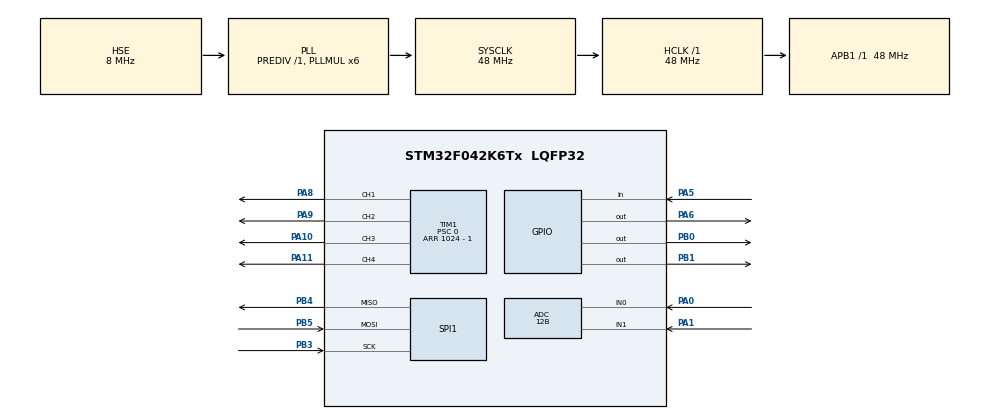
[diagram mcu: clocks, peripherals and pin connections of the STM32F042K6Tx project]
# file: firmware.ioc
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ADC.ClockPrescaler=ADC_CLOCK_SYNC_PCLK_DIV4
ADC.ContinuousConvMode=ENABLE
ADC.DMAContinuousRequests=ENABLE
ADC.DataAlign=ADC_DATAALIGN_RIGHT
ADC.DiscontinuousConvMode=DISABLE
ADC.EOCSelection=ADC_EOC_SINGLE_CONV
ADC.EnableAnalogWatchDog=false
ADC.ExternalTrigConv=ADC_SOFTWARE_START
ADC.ExternalTrigConvEdge=ADC_EXTERNALTRIGCONVEDGE_NONE
ADC.LowPowerAutoPowerOff=DISABLE
ADC.LowPowerAutoWait=DISABLE
ADC.Overrun=ADC_OVR_DATA_PRESERVED
ADC.Resolution=ADC_RESOLUTION_12B
ADC.SamplingTime=ADC_SAMPLETIME_13CYCLES_5
ADC.ScanConvMode=ADC_SCAN_DIRECTION_FORWARD
Dma.ADC.0.Direction=DMA_PERIPH_TO_MEMORY
Dma.ADC.0.Instance=DMA1_Channel1
Dma.ADC.0.MemDataAlignment=DMA_MDATAALIGN_HALFWORD
Dma.ADC.0.MemInc=DMA_MINC_ENABLE
Dma.ADC.0.Mode=DMA_CIRCULAR
Dma.ADC.0.PeriphDataAlignment=DMA_PDATAALIGN_HALFWORD
Dma.ADC.0.PeriphInc=DMA_PINC_DISABLE
Dma.ADC.0.Priority=DMA_PRIORITY_LOW
Dma.Request0=ADC
Mcu.Family=STM32F0
Mcu.Name=STM32F042K6Tx
Mcu.Package=LQFP32
NVIC.DMA1_Channel1_IRQn=true\:0\:0\:false\:false\:true
NVIC.TIM2_IRQn=true\:0\:0\:false\:false\:true
PA0.Mode=IN0
PA0.Signal=ADC_IN0
PA1.Mode=IN1
PA1.Signal=ADC_IN1
PA10.Signal=S_TIM1_CH3
PA11.Signal=S_TIM1_CH4
PA13.Mode=Serial_Wire
PA13.Signal=SYS_SWDIO
PA14.Mode=Serial_Wire
PA14.Signal=SYS_SWCLK
PA5.Signal=GPIO_Input
PA6.Signal=GPIO_Output
PA8.Signal=S_TIM1_CH1
PA9.Signal=S_TIM1_CH2
PB0.Signal=GPIO_Output
PB1.Signal=GPIO_Output
PB3.Mode=Full_Duplex_Slave
PB3.Signal=SPI1_SCK
PB4.Mode=Full_Duplex_Slave
PB4.Signal=SPI1_MISO
PB5.Mode=Full_Duplex_Slave
PB5.Signal=SPI1_MOSI
PF0-OSC_IN.Mode=HSE-External-Oscillator
PF0-OSC_IN.Signal=RCC_OSC_IN
PF1-OSC_OUT.Mode=HSE-External-Oscillator
PF1-OSC_OUT.Signal=RCC_OSC_OUT
ProjectManager.HeapSize=0x200
ProjectManager.StackSize=0x400
ProjectManager.TargetToolchain=SW4STM32
RCC.AHBFreq_Value=48000000
RCC.APB1Freq_Value=48000000
RCC.APB1TimFreq_Value=48000000
RCC.HCLKFreq_Value=48000000
RCC.HSIState=RCC_HSI_ON
RCC.I2c1ClockSelection=RCC_I2C1CLKSOURCE_SYSCLK
RCC.PLLMUL=RCC_PLL_MUL6
RCC.PLLSourceVirtual=RCC_PLLSOURCE_HSE
RCC.SYSCLKFreq_VALUE=48000000
RCC.SYSCLKSource=RCC_SYSCLKSOURCE_PLLCLK
SH.S_TIM1_CH1.0=TIM1_CH1,PWM Generation1 CH1
SH.S_TIM1_CH2.0=TIM1_CH2,PWM Generation2 CH2
SH.S_TIM1_CH3.0=TIM1_CH3,PWM Generation3 CH3
SH.S_TIM1_CH4.0=TIM1_CH4,PWM Generation4 CH4
SPI1.DataSize=SPI_DATASIZE_8BIT
SPI1.VirtualType=VM_SLAVE
TIM1.Channel-PWM\ Generation2\ CH2=TIM_CHANNEL_2
TIM1.Channel-PWM\ Generation3\ CH3=TIM_CHANNEL_3
TIM1.Channel-PWM\ Generation4\ CH4=TIM_CHANNEL_4
TIM1.Period=1024 - 1
TIM1.Prescaler=0
TIM2.Period=50 - 1
TIM2.Prescaler=48000 - 1
VP_TIM2_VS_ClockSourceINT.Mode=Internal
board=firmware

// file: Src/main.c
/**
  ******************************************************************************
  * File Name          : main.c
  * Description        : Main program body
  ******************************************************************************
  *
  * COPYRIGHT(c) 2017 STMicroelectronics
  *
  * Redistribution and use in source and binary forms, with or without modification,
  * are permitted provided that the following conditions are met:
  *   1. Redistributions of source code must retain the above copyright notice,
  *      this list of conditions and the following disclaimer.
  *   2. Redistributions in binary form must reproduce the above copyright notice,
  *      this list of conditions and the following disclaimer in the documentation
  *      and/or other materials provided with the distribution.
  *   3. Neither the name of STMicroelectronics nor the names of its contributors
  *      may be used to endorse or promote products derived from this software
  *      without specific prior written permission.
  *
  * THIS SOFTWARE IS PROVIDED BY THE COPYRIGHT HOLDERS AND CONTRIBUTORS "AS IS"
  * AND ANY EXPRESS OR IMPLIED WARRANTIES, INCLUDING, BUT NOT LIMITED TO, THE
  * IMPLIED WARRANTIES OF MERCHANTABILITY AND FITNESS FOR A PARTICULAR PURPOSE ARE
  * DISCLAIMED. IN NO EVENT SHALL THE COPYRIGHT HOLDER OR CONTRIBUTORS BE LIABLE
  * FOR ANY DIRECT, INDIRECT, INCIDENTAL, SPECIAL, EXEMPLARY, OR CONSEQUENTIAL
  * DAMAGES (INCLUDING, BUT NOT LIMITED TO, PROCUREMENT OF SUBSTITUTE GOODS OR
  * SERVICES; LOSS OF USE, DATA, OR PROFITS; OR BUSINESS INTERRUPTION) HOWEVER
  * CAUSED AND ON ANY THEORY OF LIABILITY, WHETHER IN CONTRACT, STRICT LIABILITY,
  * OR TORT (INCLUDING NEGLIGENCE OR OTHERWISE) ARISING IN ANY WAY OUT OF THE USE
  * OF THIS SOFTWARE, EVEN IF ADVISED OF THE POSSIBILITY OF SUCH DAMAGE.
  *
  ******************************************************************************
  */
#include "main.h"
#include "stm32f0xx_hal.h"

/* USER CODE BEGIN Includes */
#include "Servo.h"
#include "LED.h"
#include "HostComm.h"
/* USER CODE END Includes */

ADC_HandleTypeDef hadc;
DMA_HandleTypeDef hdma_adc;

SPI_HandleTypeDef hspi1;

TIM_HandleTypeDef htim1;
TIM_HandleTypeDef htim2;

/* USER CODE BEGIN PV */
/* Private variables ---------------------------------------------------------*/
static ServoHandle hservo;
static LEDHandle hled;
static HostCommHandle hcomm;

/* USER CODE END PV */

void SystemClock_Config(void);
void Error_Handler(void);
static void MX_GPIO_Init(void);
static void MX_DMA_Init(void);
static void MX_ADC_Init(void);
static void MX_TIM1_Init(void);
static void MX_TIM2_Init(void);
static void MX_SPI1_Init(void);

void HAL_TIM_MspPostInit(TIM_HandleTypeDef *htim);

/* USER CODE BEGIN PFP */
/* Private function prototypes -----------------------------------------------*/

/* USER CODE END PFP */

int main(void)
{

  /* MCU Configuration----------------------------------------------------------*/

  /* Reset of all peripherals, Initializes the Flash interface and the Systick. */
  HAL_Init();

  /* Configure the system clock */
  SystemClock_Config();

  /* Initialize all configured peripherals */
  MX_GPIO_Init();
  MX_DMA_Init();
  MX_ADC_Init();
  MX_TIM1_Init();
  MX_TIM2_Init();
  MX_SPI1_Init();

  /* USER CODE BEGIN 2 */
  if (initLED(&hled, &htim2, GPIOB, GPIO_PIN_0, GPIOB, GPIO_PIN_1) != HAL_OK){
	  Error_Handler();
  }
  if (initServo(&hservo, &htim1, &hadc) != HAL_OK){
	  Error_Handler();
  }
  if (initHostComm(&hcomm, &hled, &hservo) != HAL_OK){
	  Error_Handler();
  }
  /* USER CODE END 2 */

  /* Infinite loop */
  /* USER CODE BEGIN WHILE */
  startLED(&hled);
  HAL_Delay(500);
  LED_CONFIG(&hled, LED_SEQ_LEVEL_MASTER).type[LED_RED] = LED_SEQ_TYPE_ON;
  commitLEDConfig(&hled, LED_SEQ_LEVEL_MASTER);
  HAL_Delay(1500);
  LED_CONFIG(&hled, LED_SEQ_LEVEL_MASTER).type[LED_BLUE] = LED_SEQ_TYPE_ON;
  commitLEDConfig(&hled, LED_SEQ_LEVEL_MASTER);
  HAL_Delay(1500);
  LED_CONFIG(&hled, LED_SEQ_LEVEL_MASTER).type[LED_BLUE] = LED_SEQ_TYPE_OFF;
  LED_CONFIG(&hled, LED_SEQ_LEVEL_MASTER).type[LED_RED] = LED_SEQ_TYPE_OFF;
  commitLEDConfig(&hled, LED_SEQ_LEVEL_MASTER);
  HAL_Delay(700);

  startServo(&hservo);
  LED_CONFIG(&hled, LED_SEQ_LEVEL_MASTER).type[LED_BLUE] = LED_SEQ_TYPE_SERVO_IDLE;
  LED_CONFIG(&hled, LED_SEQ_LEVEL_MASTER).type[LED_RED] = LED_SEQ_TYPE_SERVO_IDLE;
  commitLEDConfig(&hled, LED_SEQ_LEVEL_MASTER);

  while (1) {
	  uint8_t magic = TRACKCAM_MAGIC;
	  uint8_t cmd;
	  static uint8_t rxbuff[64];
	  static uint8_t txbuff[64];

	  int rc = HAL_SPI_TransmitReceive(&hspi1, &magic, &cmd, 1, HAL_MAX_DELAY);
	  if (rc != HAL_OK){
		  Error_Handler();
	  }

	  int argsize = validateHostCommand(cmd);
	  if (argsize < 0){
		  continue;
	  }else if (argsize > 0){
		  rc = HAL_SPI_Receive(&hspi1, rxbuff, argsize, 100);
		  if (rc == HAL_TIMEOUT){
			  continue;
		  }else if (rc != HAL_OK){
			  Error_Handler();
		  }
	  }
	  int respsize = processHostCommand(&hcomm, cmd, rxbuff, argsize, txbuff, sizeof(txbuff));
	  if (respsize > 0){
		  int rc = HAL_SPI_TransmitReceive(&hspi1, rxbuff, txbuff, respsize, 100);
		  if (rc == HAL_TIMEOUT){
			  continue;
		  }else if (rc != HAL_OK){
			  Error_Handler();
		  }
	  }

  /* USER CODE END WHILE */

  }

}

/** System Clock Configuration
*/
void SystemClock_Config(void)
{

  RCC_OscInitTypeDef RCC_OscInitStruct;
  RCC_ClkInitTypeDef RCC_ClkInitStruct;

    /**Initializes the CPU, AHB and APB busses clocks
    */
  RCC_OscInitStruct.OscillatorType = RCC_OSCILLATORTYPE_HSE;
  RCC_OscInitStruct.HSEState = RCC_HSE_ON;
  RCC_OscInitStruct.HSIState = RCC_HSI_ON;
  RCC_OscInitStruct.PLL.PLLState = RCC_PLL_ON;
  RCC_OscInitStruct.PLL.PLLSource = RCC_PLLSOURCE_HSE;
  RCC_OscInitStruct.PLL.PLLMUL = RCC_PLL_MUL6;
  RCC_OscInitStruct.PLL.PREDIV = RCC_PREDIV_DIV1;
  if (HAL_RCC_OscConfig(&RCC_OscInitStruct) != HAL_OK)
  {
    Error_Handler();
  }

    /**Initializes the CPU, AHB and APB busses clocks
    */
  RCC_ClkInitStruct.ClockType = RCC_CLOCKTYPE_HCLK|RCC_CLOCKTYPE_SYSCLK
                              |RCC_CLOCKTYPE_PCLK1;
  RCC_ClkInitStruct.SYSCLKSource = RCC_SYSCLKSOURCE_PLLCLK;
  RCC_ClkInitStruct.AHBCLKDivider = RCC_SYSCLK_DIV1;
  RCC_ClkInitStruct.APB1CLKDivider = RCC_HCLK_DIV1;

  if (HAL_RCC_ClockConfig(&RCC_ClkInitStruct, FLASH_LATENCY_1) != HAL_OK)
  {
    Error_Handler();
  }

    /**Configure the Systick interrupt time
    */
  HAL_SYSTICK_Config(HAL_RCC_GetHCLKFreq()/1000);

    /**Configure the Systick
    */
  HAL_SYSTICK_CLKSourceConfig(SYSTICK_CLKSOURCE_HCLK);

  /* SysTick_IRQn interrupt configuration */
  HAL_NVIC_SetPriority(SysTick_IRQn, 0, 0);
}

/* ADC init function */
static void MX_ADC_Init(void)
{

  ADC_ChannelConfTypeDef sConfig;

    /**Configure the global features of the ADC (Clock, Resolution, Data Alignment and number of conversion)
    */
  hadc.Instance = ADC1;
  hadc.Init.ClockPrescaler = ADC_CLOCK_SYNC_PCLK_DIV4;
  hadc.Init.Resolution = ADC_RESOLUTION_12B;
  hadc.Init.DataAlign = ADC_DATAALIGN_RIGHT;
  hadc.Init.ScanConvMode = ADC_SCAN_DIRECTION_FORWARD;
  hadc.Init.EOCSelection = ADC_EOC_SINGLE_CONV;
  hadc.Init.LowPowerAutoWait = DISABLE;
  hadc.Init.LowPowerAutoPowerOff = DISABLE;
  hadc.Init.ContinuousConvMode = ENABLE;
  hadc.Init.DiscontinuousConvMode = DISABLE;
  hadc.Init.ExternalTrigConv = ADC_SOFTWARE_START;
  hadc.Init.ExternalTrigConvEdge = ADC_EXTERNALTRIGCONVEDGE_NONE;
  hadc.Init.DMAContinuousRequests = ENABLE;
  hadc.Init.Overrun = ADC_OVR_DATA_PRESERVED;
  if (HAL_ADC_Init(&hadc) != HAL_OK)
  {
    Error_Handler();
  }

    /**Configure for the selected ADC regular channel to be converted.
    */
  sConfig.Channel = ADC_CHANNEL_0;
  sConfig.Rank = ADC_RANK_CHANNEL_NUMBER;
  sConfig.SamplingTime = ADC_SAMPLETIME_13CYCLES_5;
  if (HAL_ADC_ConfigChannel(&hadc, &sConfig) != HAL_OK)
  {
    Error_Handler();
  }

    /**Configure for the selected ADC regular channel to be converted.
    */
  sConfig.Channel = ADC_CHANNEL_1;
  if (HAL_ADC_ConfigChannel(&hadc, &sConfig) != HAL_OK)
  {
    Error_Handler();
  }

}

/* SPI1 init function */
static void MX_SPI1_Init(void)
{

  hspi1.Instance = SPI1;
  hspi1.Init.Mode = SPI_MODE_SLAVE;
  hspi1.Init.Direction = SPI_DIRECTION_2LINES;
  hspi1.Init.DataSize = SPI_DATASIZE_8BIT;
  hspi1.Init.CLKPolarity = SPI_POLARITY_LOW;
  hspi1.Init.CLKPhase = SPI_PHASE_1EDGE;
  hspi1.Init.NSS = SPI_NSS_SOFT;
  hspi1.Init.FirstBit = SPI_FIRSTBIT_MSB;
  hspi1.Init.TIMode = SPI_TIMODE_DISABLE;
  hspi1.Init.CRCCalculation = SPI_CRCCALCULATION_DISABLE;
  hspi1.Init.CRCPolynomial = 7;
  hspi1.Init.CRCLength = SPI_CRC_LENGTH_DATASIZE;
  hspi1.Init.NSSPMode = SPI_NSS_PULSE_DISABLE;
  if (HAL_SPI_Init(&hspi1) != HAL_OK)
  {
    Error_Handler();
  }

}

/* TIM1 init function */
static void MX_TIM1_Init(void)
{

  TIM_MasterConfigTypeDef sMasterConfig;
  TIM_OC_InitTypeDef sConfigOC;
  TIM_BreakDeadTimeConfigTypeDef sBreakDeadTimeConfig;

  htim1.Instance = TIM1;
  htim1.Init.Prescaler = 0;
  htim1.Init.CounterMode = TIM_COUNTERMODE_UP;
  htim1.Init.Period = 1024 - 1;
  htim1.Init.ClockDivision = TIM_CLOCKDIVISION_DIV1;
  htim1.Init.RepetitionCounter = 0;
  htim1.Init.AutoReloadPreload = TIM_AUTORELOAD_PRELOAD_DISABLE;
  if (HAL_TIM_PWM_Init(&htim1) != HAL_OK)
  {
    Error_Handler();
  }

  sMasterConfig.MasterOutputTrigger = TIM_TRGO_RESET;
  sMasterConfig.MasterSlaveMode = TIM_MASTERSLAVEMODE_DISABLE;
  if (HAL_TIMEx_MasterConfigSynchronization(&htim1, &sMasterConfig) != HAL_OK)
  {
    Error_Handler();
  }

  sConfigOC.OCMode = TIM_OCMODE_PWM1;
  sConfigOC.Pulse = 0;
  sConfigOC.OCPolarity = TIM_OCPOLARITY_HIGH;
  sConfigOC.OCNPolarity = TIM_OCNPOLARITY_HIGH;
  sConfigOC.OCFastMode = TIM_OCFAST_DISABLE;
  sConfigOC.OCIdleState = TIM_OCIDLESTATE_RESET;
  sConfigOC.OCNIdleState = TIM_OCNIDLESTATE_RESET;
  if (HAL_TIM_PWM_ConfigChannel(&htim1, &sConfigOC, TIM_CHANNEL_1) != HAL_OK)
  {
    Error_Handler();
  }

  if (HAL_TIM_PWM_ConfigChannel(&htim1, &sConfigOC, TIM_CHANNEL_2) != HAL_OK)
  {
    Error_Handler();
  }

  if (HAL_TIM_PWM_ConfigChannel(&htim1, &sConfigOC, TIM_CHANNEL_3) != HAL_OK)
  {
    Error_Handler();
  }

  if (HAL_TIM_PWM_ConfigChannel(&htim1, &sConfigOC, TIM_CHANNEL_4) != HAL_OK)
  {
    Error_Handler();
  }

  sBreakDeadTimeConfig.OffStateRunMode = TIM_OSSR_DISABLE;
  sBreakDeadTimeConfig.OffStateIDLEMode = TIM_OSSI_DISABLE;
  sBreakDeadTimeConfig.LockLevel = TIM_LOCKLEVEL_OFF;
  sBreakDeadTimeConfig.DeadTime = 0;
  sBreakDeadTimeConfig.BreakState = TIM_BREAK_DISABLE;
  sBreakDeadTimeConfig.BreakPolarity = TIM_BREAKPOLARITY_HIGH;
  sBreakDeadTimeConfig.AutomaticOutput = TIM_AUTOMATICOUTPUT_DISABLE;
  if (HAL_TIMEx_ConfigBreakDeadTime(&htim1, &sBreakDeadTimeConfig) != HAL_OK)
  {
    Error_Handler();
  }

  HAL_TIM_MspPostInit(&htim1);

}

/* TIM2 init function */
static void MX_TIM2_Init(void)
{

  TIM_ClockConfigTypeDef sClockSourceConfig;
  TIM_MasterConfigTypeDef sMasterConfig;

  htim2.Instance = TIM2;
  htim2.Init.Prescaler = 48000 - 1;
  htim2.Init.CounterMode = TIM_COUNTERMODE_UP;
  htim2.Init.Period = 50 - 1;
  htim2.Init.ClockDivision = TIM_CLOCKDIVISION_DIV1;
  htim2.Init.AutoReloadPreload = TIM_AUTORELOAD_PRELOAD_DISABLE;
  if (HAL_TIM_Base_Init(&htim2) != HAL_OK)
  {
    Error_Handler();
  }

  sClockSourceConfig.ClockSource = TIM_CLOCKSOURCE_INTERNAL;
  if (HAL_TIM_ConfigClockSource(&htim2, &sClockSourceConfig) != HAL_OK)
  {
    Error_Handler();
  }

  sMasterConfig.MasterOutputTrigger = TIM_TRGO_RESET;
  sMasterConfig.MasterSlaveMode = TIM_MASTERSLAVEMODE_DISABLE;
  if (HAL_TIMEx_MasterConfigSynchronization(&htim2, &sMasterConfig) != HAL_OK)
  {
    Error_Handler();
  }

}

static void MX_DMA_Init(void)
{
  /* DMA controller clock enable */
  __HAL_RCC_DMA1_CLK_ENABLE();

  /* DMA interrupt init */
  /* DMA1_Channel1_IRQn interrupt configuration */
  HAL_NVIC_SetPriority(DMA1_Channel1_IRQn, 0, 0);
  HAL_NVIC_EnableIRQ(DMA1_Channel1_IRQn);

}

/** Configure pins as
        * Analog
        * Input
        * Output
        * EVENT_OUT
        * EXTI
*/
static void MX_GPIO_Init(void)
{

  GPIO_InitTypeDef GPIO_InitStruct;

  /* GPIO Ports Clock Enable */
  __HAL_RCC_GPIOF_CLK_ENABLE();
  __HAL_RCC_GPIOA_CLK_ENABLE();
  __HAL_RCC_GPIOB_CLK_ENABLE();

  /*Configure GPIO pin Output Level */
  HAL_GPIO_WritePin(GPIOA, GPIO_PIN_6, GPIO_PIN_RESET);

  /*Configure GPIO pin Output Level */
  HAL_GPIO_WritePin(GPIOB, GPIO_PIN_0|GPIO_PIN_1, GPIO_PIN_RESET);

  /*Configure GPIO pin : PA5 */
  GPIO_InitStruct.Pin = GPIO_PIN_5;
  GPIO_InitStruct.Mode = GPIO_MODE_INPUT;
  GPIO_InitStruct.Pull = GPIO_NOPULL;
  HAL_GPIO_Init(GPIOA, &GPIO_InitStruct);

  /*Configure GPIO pin : PA6 */
  GPIO_InitStruct.Pin = GPIO_PIN_6;
  GPIO_InitStruct.Mode = GPIO_MODE_OUTPUT_PP;
  GPIO_InitStruct.Pull = GPIO_NOPULL;
  GPIO_InitStruct.Speed = GPIO_SPEED_FREQ_LOW;
  HAL_GPIO_Init(GPIOA, &GPIO_InitStruct);

  /*Configure GPIO pins : PB0 PB1 */
  GPIO_InitStruct.Pin = GPIO_PIN_0|GPIO_PIN_1;
  GPIO_InitStruct.Mode = GPIO_MODE_OUTPUT_PP;
  GPIO_InitStruct.Pull = GPIO_NOPULL;
  GPIO_InitStruct.Speed = GPIO_SPEED_FREQ_LOW;
  HAL_GPIO_Init(GPIOB, &GPIO_InitStruct);

}

/* USER CODE BEGIN 4 */
void HAL_TIM_PeriodElapsedCallback(TIM_HandleTypeDef *htim)
{
	if (htim == &htim2){
		scheduleLED(&hled);
	}
}

void HAL_ADC_ConvCpltCallback(ADC_HandleTypeDef* handle)
{
	if (handle == &hadc){
		scheduleServo(&hservo);
	}
}
/* USER CODE END 4 */

void Error_Handler(void)
{
  while(1)
  {
  }
}

/************************ (C) COPYRIGHT STMicroelectronics *****END OF FILE****/
